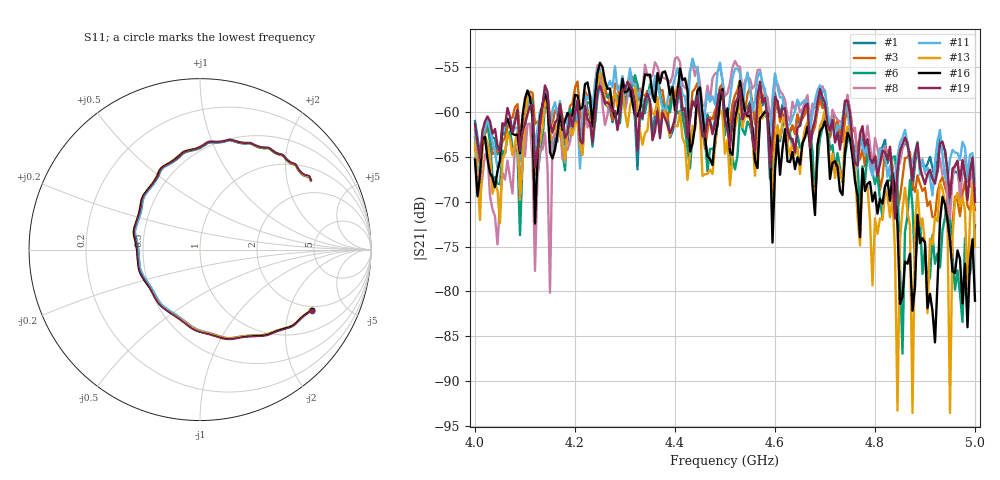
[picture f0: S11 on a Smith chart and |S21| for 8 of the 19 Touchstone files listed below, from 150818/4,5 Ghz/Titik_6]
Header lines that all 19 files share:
# Hz S RI R 50
! CMT, C1220, 16058040, 17.2.0/1
! Data: Format (Calibration Info)
! Freq  S11: Re/Im (F2)  S21: Re/Im (F2)  S12: Re/Im (F2)  S22: Re/Im (F2)
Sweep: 4 GHz to 5 GHz
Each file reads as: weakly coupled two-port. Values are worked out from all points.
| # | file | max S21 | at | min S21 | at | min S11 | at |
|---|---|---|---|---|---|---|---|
| 1 | Sudut_0_Titik_6.s2p | -56.37 dB | 4.25 GHz | -71.4 dB | 4.84 GHz | -8.9 dB | 4.36 GHz |
| 2 | Sudut_20_Titik_6.s2p | -55.31 dB | 4.295 GHz | -73.0 dB | 4.845 GHz | -8.9 dB | 4.36 GHz |
| 3 | Sudut_30_Titik_6.s2p | -56.07 dB | 4.315 GHz | -74.4 dB | 4.95 GHz | -8.9 dB | 4.36 GHz |
| 4 | Sudut_40_Titik_6.s2p | -56.24 dB | 4.445 GHz | -74.2 dB | 4.97 GHz | -8.9 dB | 4.36 GHz |
| 5 | Sudut_50_Titik_6.s2p | -55.87 dB | 4.365 GHz | -80.2 dB | 4.85 GHz | -9.0 dB | 4.36 GHz |
| 6 | Sudut_70_Titik_6.s2p | -55.87 dB | 4.32 GHz | -86.9 dB | 4.855 GHz | -8.9 dB | 4.36 GHz |
| 7 | Sudut_140_Titik_6.s2p | -55.31 dB | 4.53 GHz | -97.4 dB | 4.045 GHz | -8.9 dB | 4.36 GHz |
| 8 | Sudut_170_Titik_6.s2p | -53.87 dB | 4.405 GHz | -80.1 dB | 4.15 GHz | -8.9 dB | 4.36 GHz |
| 9 | Sudut_180_Titik_6.s2p | -52.61 dB | 4.52 GHz | -68.9 dB | 4.15 GHz | -9.0 dB | 4.36 GHz |
| 10 | Sudut_210_Titik_6.s2p | -53.49 dB | 4.435 GHz | -69.1 dB | 4.945 GHz | -8.9 dB | 4.36 GHz |
| 11 | Sudut_220_Titik_6.s2p | -54.02 dB | 4.435 GHz | -69.3 dB | 4.915 GHz | -8.9 dB | 4.36 GHz |
| 12 | Sudut_230_Titik_6.s2p | -55.67 dB | 4.28 GHz | -70.6 dB | 4.985 GHz | -9.0 dB | 4.36 GHz |
| 13 | Sudut_250_Titik_6.s2p | -55.67 dB | 4.25 GHz | -93.5 dB | 4.95 GHz | -8.7 dB | 4.36 GHz |
| 14 | Sudut_260_Titik_6.s2p | -56.70 dB | 4.25 GHz | -85.4 dB | 5 GHz | -8.6 dB | 4.36 GHz |
| 15 | Sudut_270_Titik_6.s2p | -55.71 dB | 4.25 GHz | -91.8 dB | 4.875 GHz | -8.7 dB | 4.36 GHz |
| 16 | Sudut_280_Titik_6.s2p | -54.49 dB | 4.25 GHz | -85.7 dB | 4.92 GHz | -8.7 dB | 4.36 GHz |
| 17 | Sudut_330_Titik_6.s2p | -54.90 dB | 4.49 GHz | -76.3 dB | 4.12 GHz | -8.9 dB | 4.36 GHz |
| 18 | Sudut_340_Titik_6.s2p | -55.13 dB | 4.53 GHz | -74.3 dB | 4.12 GHz | -8.9 dB | 4.36 GHz |
| 19 | Sudut_360_Titik_6.s2p | -56.59 dB | 4.57 GHz | -71.9 dB | 4.84 GHz | -8.7 dB | 4.36 GHz |
